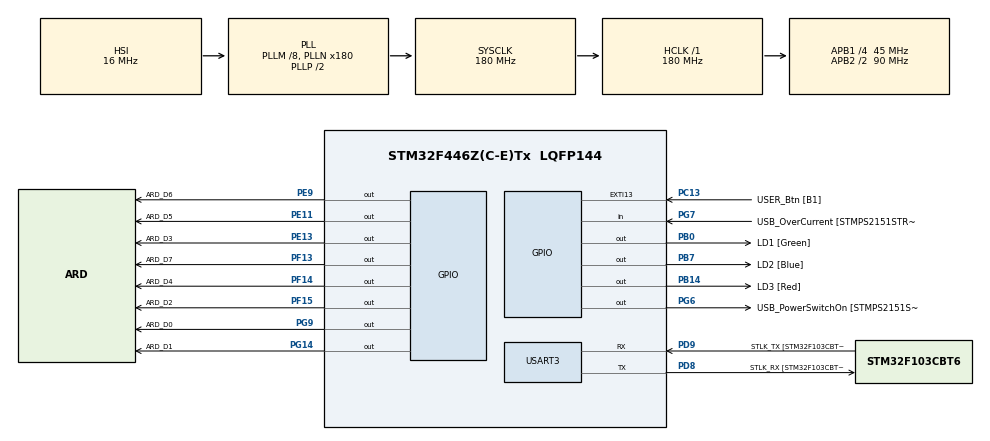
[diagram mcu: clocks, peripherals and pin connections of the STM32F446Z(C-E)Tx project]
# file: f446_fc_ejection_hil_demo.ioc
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Dma.Request0=USART3_RX
Dma.Request1=USART3_TX
Dma.USART3_RX.0.Direction=DMA_PERIPH_TO_MEMORY
Dma.USART3_RX.0.FIFOMode=DMA_FIFOMODE_DISABLE
Dma.USART3_RX.0.Instance=DMA1_Stream1
Dma.USART3_RX.0.MemDataAlignment=DMA_MDATAALIGN_BYTE
Dma.USART3_RX.0.MemInc=DMA_MINC_ENABLE
Dma.USART3_RX.0.Mode=DMA_NORMAL
Dma.USART3_RX.0.PeriphDataAlignment=DMA_PDATAALIGN_BYTE
Dma.USART3_RX.0.PeriphInc=DMA_PINC_DISABLE
Dma.USART3_RX.0.Priority=DMA_PRIORITY_VERY_HIGH
Dma.USART3_TX.1.Direction=DMA_MEMORY_TO_PERIPH
Dma.USART3_TX.1.FIFOMode=DMA_FIFOMODE_DISABLE
Dma.USART3_TX.1.Instance=DMA1_Stream3
Dma.USART3_TX.1.MemDataAlignment=DMA_MDATAALIGN_BYTE
Dma.USART3_TX.1.MemInc=DMA_MINC_ENABLE
Dma.USART3_TX.1.Mode=DMA_NORMAL
Dma.USART3_TX.1.PeriphDataAlignment=DMA_PDATAALIGN_BYTE
Dma.USART3_TX.1.PeriphInc=DMA_PINC_DISABLE
Dma.USART3_TX.1.Priority=DMA_PRIORITY_HIGH
Mcu.Family=STM32F4
Mcu.Name=STM32F446Z(C-E)Tx
Mcu.Package=LQFP144
NVIC.DMA1_Stream1_IRQn=true\:0\:0\:false\:false\:true\:false\:true
NVIC.DMA1_Stream3_IRQn=true\:0\:0\:false\:false\:true\:false\:true
NVIC.EXTI15_10_IRQn=true\:0\:0\:false\:false\:true\:true\:true
NVIC.PriorityGroup=NVIC_PRIORITYGROUP_4
NVIC.TIM2_IRQn=true\:0\:0\:false\:false\:true\:true\:true
PA10.GPIO_Label=USB_ID
PA10.Signal=USB_OTG_FS_ID
PA11.GPIO_Label=USB_DM
PA11.Signal=USB_OTG_FS_DM
PA12.GPIO_Label=USB_DP
PA12.Signal=USB_OTG_FS_DP
PA13.GPIO_Label=TMS
PA13.Mode=Trace_Asynchronous_SW
PA13.Signal=SYS_JTMS-SWDIO
PA14.GPIO_Label=TCK
PA14.Mode=Trace_Asynchronous_SW
PA14.Signal=SYS_JTCK-SWCLK
PA8.GPIO_Label=USB_SOF [TP1]
PA8.Signal=USB_OTG_FS_SOF
PA9.GPIO_Label=USB_VBUS
PA9.Signal=USB_OTG_FS_VBUS
PB0.GPIO_Label=LD1 [Green]
PB0.Signal=GPIO_Output
PB14.GPIO_Label=LD3 [Red]
PB14.Signal=GPIO_Output
PB3.Mode=Trace_Asynchronous_SW
PB3.Signal=SYS_JTDO-SWO
PB7.GPIO_Label=LD2 [Blue]
PB7.Signal=GPIO_Output
PC13.GPIO_Label=USER_Btn [B1]
PC13.Signal=GPXTI13
PC14-OSC32_IN.Signal=RCC_OSC32_IN
PC15-OSC32_OUT.Signal=RCC_OSC32_OUT
PD8.GPIO_Label=STLK_RX [STM32F103CBT6_PA3]
PD8.Mode=Asynchronous
PD8.Signal=USART3_TX
PD9.GPIO_Label=STLK_TX [STM32F103CBT6_PA2]
PD9.Mode=Asynchronous
PD9.Signal=USART3_RX
PE11.GPIO_Label=ARD_D5
PE11.Signal=GPIO_Output
PE13.GPIO_Label=ARD_D3
PE13.Signal=GPIO_Output
PE9.GPIO_Label=ARD_D6
PE9.Signal=GPIO_Output
PF13.GPIO_Label=ARD_D7
PF13.Signal=GPIO_Output
PF14.GPIO_Label=ARD_D4
PF14.Signal=GPIO_Output
PF15.GPIO_Label=ARD_D2
PF15.Signal=GPIO_Output
PG14.GPIO_Label=ARD_D1
PG14.Signal=GPIO_Output
PG6.GPIO_Label=USB_PowerSwitchOn [STMPS2151STR_EN]
PG6.Signal=GPIO_Output
PG7.GPIO_Label=USB_OverCurrent [STMPS2151STR_FAULT]
PG7.Signal=GPIO_Input
PG9.GPIO_Label=ARD_D0
PG9.Signal=GPIO_Output
PH0-OSC_IN.GPIO_Label=MCO [STM32F103CBT6_PA8]
PH0-OSC_IN.Signal=RCC_OSC_IN
PH1-OSC_OUT.Signal=RCC_OSC_OUT
ProjectManager.HeapSize=0x200
ProjectManager.StackSize=0x400
ProjectManager.TargetToolchain=STM32CubeIDE
RCC.48MHZClocksFreq_Value=24000000
RCC.AHBFreq_Value=180000000
RCC.APB1CLKDivider=RCC_HCLK_DIV4
RCC.APB1Freq_Value=45000000
RCC.APB1TimFreq_Value=90000000
RCC.APB2CLKDivider=RCC_HCLK_DIV2
RCC.APB2Freq_Value=90000000
RCC.APB2TimFreq_Value=180000000
RCC.CortexFreq_Value=180000000
RCC.HCLKFreq_Value=180000000
RCC.HSE_VALUE=8000000
RCC.HSI_VALUE=16000000
RCC.LSE_VALUE=32768
RCC.PLLM=8
RCC.PLLMUL=RCC_PLL_MUL9
RCC.PLLN=180
RCC.PRESCALERUSB=RCC_USBCLKSOURCE_PLL_DIV1_5
RCC.SYSCLKFreq_VALUE=180000000
RCC.SYSCLKSource=RCC_SYSCLKSOURCE_PLLCLK
RCC.SYSCLKSourceVirtual=RCC_SYSCLKSOURCE_PLLCLK
RCC.USBFreq_Value=180000000
RCC.VCOOutputFreq_Value=360000000
TIM2.Period=100
TIM2.Prescaler=45-1
USART3.VirtualMode=VM_ASYNC
VP_TIM2_VS_ClockSourceINT.Mode=Internal
board=NUCLEO-F446ZE

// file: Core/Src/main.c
/* USER CODE BEGIN Header */
/**
  ******************************************************************************
  * @file           : main.c
  * @brief          : Main program body
  ******************************************************************************
  * @attention
  *
  * Copyright (c) 2023 STMicroelectronics.
  * All rights reserved.
  *
  * This software is licensed under terms that can be found in the LICENSE file
  * in the root directory of this software component.
  * If no LICENSE file comes with this software, it is provided AS-IS.
  *
  ******************************************************************************
  */
/* USER CODE END Header */
#include "main.h"
#include "dma.h"
#include "tim.h"
#include "usart.h"
#include "gpio.h"

/* USER CODE BEGIN Includes */
#include "ejection.h"
#include "hil_sim_interface.h"
/* USER CODE END Includes */

/* USER CODE BEGIN PV */

// flags
volatile uint8_t timer_elapsed = 0;
volatile uint8_t button_pressed_flag = 0;

/* USER CODE END PV */

void SystemClock_Config(void);
/* USER CODE BEGIN PFP */

void config_timer_freq(TIM_TypeDef *TIMx, uint32_t freq);

/* USER CODE END PFP */

/* USER CODE BEGIN 0 */
void config_timer_freq(TIM_TypeDef *TIMx, uint32_t freq) {
	uint32_t psc = 0;
	if (freq < 50000) {
		psc = 100 - 1;
	}

	TIMx->PSC = psc;
	TIMx->ARR = (uint16_t) (90000000 / ((psc + 1) * freq) - 1);
	TIMx->EGR |= 0x1; // force update
}

void HAL_UART_RxCpltCallback(UART_HandleTypeDef *huart) {
	if (huart == &huart3) {
		// HIL interface should run in the background, invisible to the app.
		// processing is fast, so just complete it all in the ISR
		HAL_GPIO_WritePin(ARD_D7_GPIO_Port, ARD_D7_Pin, GPIO_PIN_SET);
		hil_if_parse_telemetry();
		HAL_GPIO_WritePin(ARD_D7_GPIO_Port, ARD_D7_Pin, GPIO_PIN_RESET);
	}
}

void HAL_GPIO_EXTI_Callback(uint16_t GPIO_Pin) {
	if (GPIO_Pin == USER_Btn_Pin) {
		button_pressed_flag = 1;
	}
}

void HAL_TIM_PeriodElapsedCallback(TIM_HandleTypeDef *htim) {
	if (htim == &htim2) {
		timer_elapsed = 1;
	}
}

/* USER CODE END 0 */

int main(void)
{

  /* MCU Configuration--------------------------------------------------------*/

  /* Reset of all peripherals, Initializes the Flash interface and the Systick. */
  HAL_Init();

  /* Configure the system clock */
  SystemClock_Config();

  /* Initialize all configured peripherals */
  MX_DMA_Init();
  MX_GPIO_Init();
  MX_USART3_UART_Init();
  MX_TIM2_Init();
  /* USER CODE BEGIN 2 */

  // reset all debug GPIOs (ARD_D0-D7)
  HAL_GPIO_WritePin(ARD_D0_GPIO_Port, ARD_D0_Pin, GPIO_PIN_RESET);
  HAL_GPIO_WritePin(ARD_D1_GPIO_Port, ARD_D1_Pin, GPIO_PIN_RESET);
  HAL_GPIO_WritePin(ARD_D2_GPIO_Port, ARD_D2_Pin, GPIO_PIN_RESET);
  HAL_GPIO_WritePin(ARD_D3_GPIO_Port, ARD_D3_Pin, GPIO_PIN_RESET);
  HAL_GPIO_WritePin(ARD_D4_GPIO_Port, ARD_D4_Pin, GPIO_PIN_RESET);
  HAL_GPIO_WritePin(ARD_D5_GPIO_Port, ARD_D5_Pin, GPIO_PIN_RESET);
  HAL_GPIO_WritePin(ARD_D6_GPIO_Port, ARD_D6_Pin, GPIO_PIN_RESET);
  HAL_GPIO_WritePin(ARD_D7_GPIO_Port, ARD_D7_Pin, GPIO_PIN_RESET);

  // ejection init
  config_timer_freq(TIM2, EJ_ALGO_UPDATE_RATE_HZ);
  ej_init();
  hil_if_init();

  // other inits
  HAL_TIM_Base_Start_IT(&htim2);

  /* USER CODE END 2 */

  /* Infinite loop */
  /* USER CODE BEGIN WHILE */
  while (1)
  {
	  flight_state_t fs;
	  if (button_pressed_flag && is_launch_command_received == 0) { // use button press to "launch"
		  ej_get_flight_state(&fs);
		  if (fs == PAD) {
			  fs = LAUNCH_COMMAND;
			  hil_if_send_flight_state(&fs);
			  is_launch_command_received = 1;
		  }
		  button_pressed_flag = 0;
	  }

	  if (timer_elapsed) { // mimics FC running the main loop on timer interrupt
		  HAL_GPIO_WritePin(ARD_D0_GPIO_Port, ARD_D0_Pin, GPIO_PIN_SET); // entire block takes 650 us to run. limited by uart probably

//		  HAL_GPIO_WritePin(ARD_D7_GPIO_Port, ARD_D7_Pin, GPIO_PIN_SET);
//		  hil_if_poll_simulator();
//		  HAL_GPIO_WritePin(ARD_D7_GPIO_Port, ARD_D7_Pin, GPIO_PIN_RESET);
		  ej_update_flight_state(&fs);
		  hil_if_send_flight_state(&fs);
		  timer_elapsed = 0;

		  HAL_GPIO_WritePin(ARD_D0_GPIO_Port, ARD_D0_Pin, GPIO_PIN_RESET);
	  }
    /* USER CODE END WHILE */

  }
}

void SystemClock_Config(void)
{
  RCC_OscInitTypeDef RCC_OscInitStruct = {0};
  RCC_ClkInitTypeDef RCC_ClkInitStruct = {0};

  /** Configure the main internal regulator output voltage
  */
  __HAL_RCC_PWR_CLK_ENABLE();
  __HAL_PWR_VOLTAGESCALING_CONFIG(PWR_REGULATOR_VOLTAGE_SCALE1);
  /** Initializes the RCC Oscillators according to the specified parameters
  * in the RCC_OscInitTypeDef structure.
  */
  RCC_OscInitStruct.OscillatorType = RCC_OSCILLATORTYPE_HSI;
  RCC_OscInitStruct.HSIState = RCC_HSI_ON;
  RCC_OscInitStruct.HSICalibrationValue = RCC_HSICALIBRATION_DEFAULT;
  RCC_OscInitStruct.PLL.PLLState = RCC_PLL_ON;
  RCC_OscInitStruct.PLL.PLLSource = RCC_PLLSOURCE_HSI;
  RCC_OscInitStruct.PLL.PLLM = 8;
  RCC_OscInitStruct.PLL.PLLN = 180;
  RCC_OscInitStruct.PLL.PLLP = RCC_PLLP_DIV2;
  RCC_OscInitStruct.PLL.PLLQ = 2;
  RCC_OscInitStruct.PLL.PLLR = 2;
  if (HAL_RCC_OscConfig(&RCC_OscInitStruct) != HAL_OK)
  {
    Error_Handler();
  }
  /** Activate the Over-Drive mode
  */
  if (HAL_PWREx_EnableOverDrive() != HAL_OK)
  {
    Error_Handler();
  }
  /** Initializes the CPU, AHB and APB buses clocks
  */
  RCC_ClkInitStruct.ClockType = RCC_CLOCKTYPE_HCLK|RCC_CLOCKTYPE_SYSCLK
                              |RCC_CLOCKTYPE_PCLK1|RCC_CLOCKTYPE_PCLK2;
  RCC_ClkInitStruct.SYSCLKSource = RCC_SYSCLKSOURCE_PLLCLK;
  RCC_ClkInitStruct.AHBCLKDivider = RCC_SYSCLK_DIV1;
  RCC_ClkInitStruct.APB1CLKDivider = RCC_HCLK_DIV4;
  RCC_ClkInitStruct.APB2CLKDivider = RCC_HCLK_DIV2;

  if (HAL_RCC_ClockConfig(&RCC_ClkInitStruct, FLASH_LATENCY_5) != HAL_OK)
  {
    Error_Handler();
  }
}

void Error_Handler(void)
{
  /* USER CODE BEGIN Error_Handler_Debug */
  /* User can add his own implementation to report the HAL error return state */
  __disable_irq();
  HAL_GPIO_WritePin(LD3_GPIO_Port, LD3_Pin, GPIO_PIN_SET);
  while (1)
  {
  }
  /* USER CODE END Error_Handler_Debug */
}
